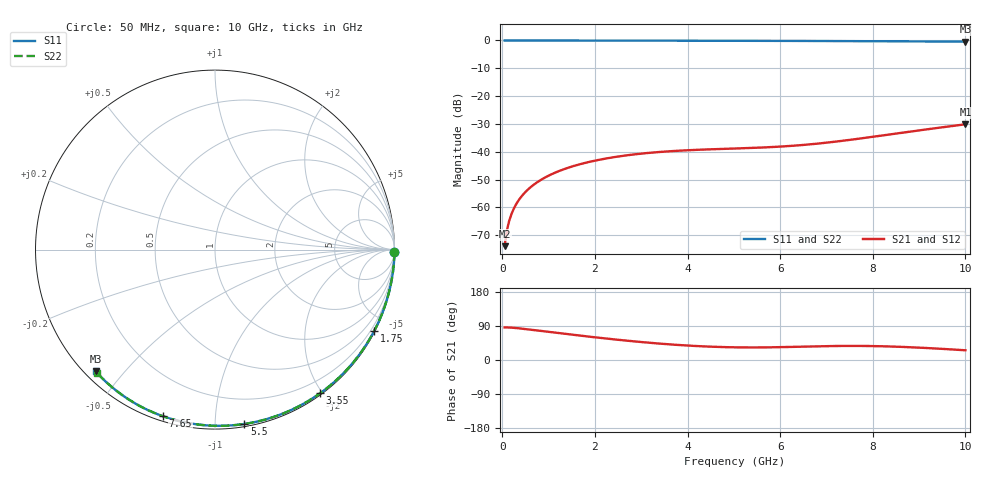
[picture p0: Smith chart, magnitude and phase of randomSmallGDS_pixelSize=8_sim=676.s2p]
! freq	dB(S11)	phase(S11)	dB(S12)	phase(S12)
!  dB(S21)	phase(S21)	dB(S22)	phase(S22)
!S-par simulation data
#  GHz  S  DB  R 50
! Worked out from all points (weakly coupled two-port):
!   200 points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, 50 MHz to 10 GHz, reference 50 ohm
!   highest |S21| = -30.15 dB at 10 GHz (marker M1); lowest = -74.0 dB at 50 MHz (marker M2)
!   lowest |S11| = -0.4 dB at 10 GHz (marker M3), VSWR 38.93, Z = 1.51 - j21 ohm
!   |S11| at or under -10 dB: nowhere
!   |S22| runs from -0.4 to 0.0 dB; largest |S21 - S12| = 0
!   S11 on the Smith chart (normalised r, x): 50 MHz: open; 1.75 GHz: 0.04, -4.14; 3.55 GHz: 0.02, -1.97; 5.5 GHz: 0.02, -1.18; 7.65 GHz: 0.02, -0.74; 10 GHz: 0.03, -0.42
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0.05  -0.00 -0.8  -73.95 86.1  -73.95 86.1  -0.00 -0.8
0.1  -0.00 -1.6  -68.21 86.0  -68.21 86.0  -0.00 -1.6
0.15  -0.00 -2.4  -64.78 85.8  -64.78 85.8  -0.00 -2.4
0.2  -0.00 -3.2  -62.33 85.4  -62.33 85.4  -0.00 -3.2
0.25  -0.00 -4.0  -60.41 84.9  -60.41 84.9  -0.00 -3.9
0.35  -0.00 -5.5  -57.52 83.7  -57.52 83.7  -0.00 -5.5
0.5  -0.01 -7.9  -54.46 81.6  -54.46 81.6  -0.01 -7.9
0.7  -0.01 -11.0  -51.59 78.7  -51.59 78.7  -0.01 -11.0
1  -0.02 -15.7  -48.60 74.3  -48.60 74.3  -0.02 -15.6
1.35  -0.03 -21.1  -46.17 69.1  -46.17 69.1  -0.03 -21.0
1.75  -0.03 -27.2  -44.17 63.4  -44.17 63.4  -0.03 -27.1
2.5  -0.05 -38.5  -41.72 53.3  -41.72 53.3  -0.05 -38.3
3.4  -0.07 -51.6  -40.09 43.2  -40.09 43.2  -0.07 -51.5
3.55  -0.07 -53.8  -39.90 41.8  -39.90 41.8  -0.07 -53.6
4.3  -0.09 -64.3  -39.25 36.2  -39.25 36.2  -0.09 -64.1
5.05  -0.11 -74.5  -38.83 33.4  -38.83 33.4  -0.11 -74.3
5.5  -0.13 -80.5  -38.56 33.1  -38.56 33.1  -0.13 -80.2
6.7  -0.18 -95.7  -37.26 35.8  -37.26 35.8  -0.18 -95.4
7.65  -0.24 -107.2  -35.43 37.2  -35.43 37.2  -0.24 -106.8
8.35  -0.29 -115.5  -33.83 35.8  -33.83 35.8  -0.29 -115.1
9.2  -0.36 -125.3  -31.88 31.4  -31.88 31.4  -0.36 -124.8
10  -0.45 -134.4  -30.15 25.7  -30.15 25.7  -0.44 -133.8
